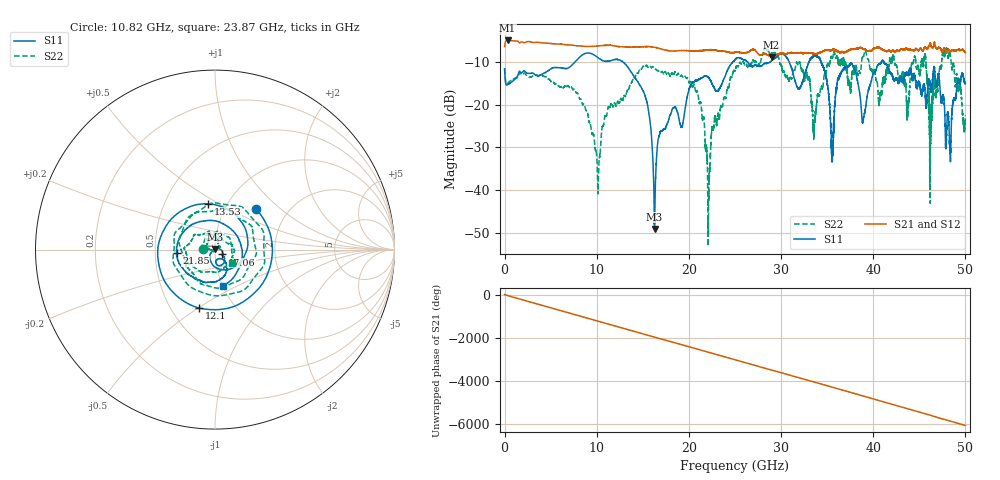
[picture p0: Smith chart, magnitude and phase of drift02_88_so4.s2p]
!Created with skrf (http://scikit-rf.org).
# Hz S RI R 50.0
!freq ReS11 ImS11 ReS21 ImS21 ReS12 ImS12 ReS22 ImS22
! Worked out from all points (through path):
!   10001 points, 300 kHz to 50 GHz, reference 50 ohm
!   highest |S21| = -5.04 dB at 325.3 MHz (marker M1); lowest = -8.9 dB at 28.98 GHz (marker M2)
!   group delay of S21, straight-line fit = 336 ps
!   lowest |S11| = -49.0 dB at 16.27 GHz (marker M3), VSWR 1.01, Z = 49.8 + j0.308 ohm
!   |S11| at or under -10 dB: start of sweep to 7.667 GHz; 12.82 GHz to 24.78 GHz (11.96 GHz wide, 63.6 % of centre); 41.14 GHz to end of sweep (the widest 3 of 13)
!   |S22| runs from -53.0 to -6.7 dB; largest |S21 - S12| = 0.031
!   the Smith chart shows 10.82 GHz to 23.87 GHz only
!   S11 on the Smith chart (normalised r, x): 10.82 GHz: 1.38, +0.70; 12.1 GHz: 0.69, -0.50; 13.53 GHz: 0.81, +0.45; 17.06 GHz: 1.08, -0.06; 21.85 GHz: 0.65, -0.03; 23.87 GHz: 1.00, -0.42
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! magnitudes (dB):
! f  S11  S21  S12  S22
! 300 kHz  -11.7  -6.5  -6.5  -11.5
! 325.3 MHz  -15.3  -5.0  -5.0  -15.1
! 8.335 GHz  -8.6  -6.4  -6.4  -19.1
! 10.11 GHz  -9.0  -6.3  -6.3  -39.1
! 10.82 GHz  -9.8  -6.2  -6.2  -23.7
! 12.1 GHz  -9.5  -6.4  -6.4  -20.4
! 13.53 GHz  -11.8  -6.6  -6.6  -15.9
! 16.27 GHz  -49.0  -6.6  -6.6  -11.6
! 16.67 GHz  -28.1  -6.8  -6.8  -12.1
! 17.06 GHz  -26.2  -7.1  -7.1  -12.3
! 21.85 GHz  -13.4  -7.3  -7.3  -30.7
! 23.87 GHz  -13.7  -7.6  -7.6  -18.4
! 25 GHz  -9.5  -7.8  -7.8  -12.0
! 28.98 GHz  -9.8  -8.9  -8.8  -7.9
! 33.34 GHz  -9.0  -8.0  -8.0  -20.6
! 35.55 GHz  -31.8  -7.2  -7.2  -9.1
! 36.79 GHz  -11.7  -7.9  -8.0  -9.5
! 41.67 GHz  -11.8  -7.3  -7.5  -12.2
! 45.5 GHz  -15.4  -7.0  -6.9  -9.6
! 46.26 GHz  -16.9  -6.2  -6.2  -21.9
! 48.11 GHz  -21.8  -7.2  -7.2  -9.0
! 50 GHz  -15.1  -7.9  -7.8  -22.7
